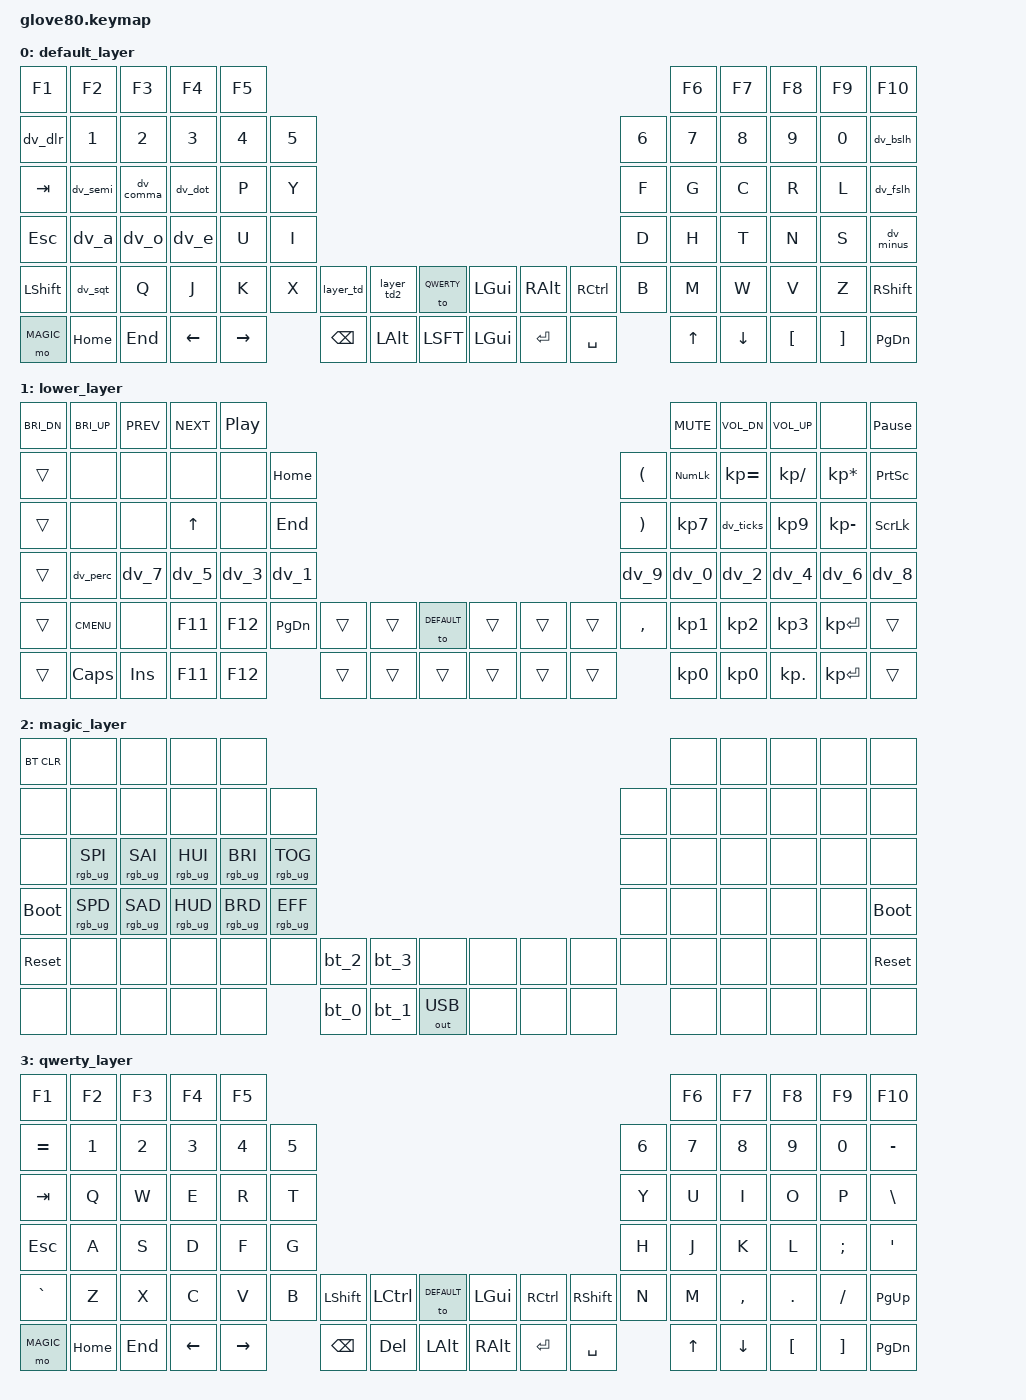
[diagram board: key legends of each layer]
/*
 * Copyright (c) 2020 The ZMK Contributors
 *
 * SPDX-License-Identifier: MIT
 */

#include <behaviors.dtsi>
#include <dt-bindings/zmk/keys.h>
#include <dt-bindings/zmk/bt.h>
#include <dt-bindings/zmk/ext_power.h>
#include <dt-bindings/zmk/outputs.h>
#include <dt-bindings/zmk/rgb.h>

// layers
#define DEFAULT 0
#define LOWER 1
#define MAGIC 2
#define QWERTY 3
#define SYMBOLS 4
/* Convert NAME parameters into a ZMK label string */
/* Create a ZMK behavior without having to specify the name three times */
#define ALT_MORPH(NAME, STANDARD, MORPHED) \
    NAME: NAME { \
        compatible = "zmk,behavior-mod-morph"; \
        #binding-cells = <0>; \
        bindings = <STANDARD>, <MORPHED>; \
        mods = <(MOD_LALT|MOD_RALT)>; \
    };

#define SHIFT_MORPH(NAME, STANDARD, MORPHED) \
    NAME: NAME { \
        compatible = "zmk,behavior-mod-morph"; \
        #binding-cells = <0>; \
        bindings = <STANDARD>, <MORPHED>; \
        mods = <(MOD_LSFT|MOD_RSFT)>; \
    };

/ {
    behaviors {
        // For the "layer" key, it'd nice to be able to use it as either a shift or a toggle.
        // Configure it as a tap dance, so the first tap (or hold) is a &mo and the second tap is a &to
        layer_td: tap_dance_0 {
            compatible = "zmk,behavior-tap-dance";
            #binding-cells = <0>;
            tapping-term-ms = <200>;
            bindings = <&mo LOWER>, <&to LOWER>;
        };
        layer_td2: tap_dance_1 {
            compatible = "zmk,behavior-tap-dance";
            #binding-cells = <0>;
            tapping-term-ms = <200>;
            bindings = <&mo LOWER>, <&to LOWER>;
        };

    };
  };

 /{
   macros {
   undead_tilde: undead_tilde {
            compatible = "zmk,behavior-macro";
            #binding-cells = <0>;
            bindings
                = <&macro_press &kp RALT>
                , <&macro_tap &kp RBKT &kp RBKT>
                , <&macro_release &kp RALT>
                ;
          
    };
   undead_caret: undead_caret {
            compatible = "zmk,behavior-macro";
            #binding-cells = <0>;
            bindings
                = <&macro_press &kp LSFT>
                , <&macro_tap &kp RBKT &kp RBKT>
                , <&macro_release &kp LSFT>
                ;
          
    };
  };
};


/ {
    behaviors {
        SHIFT_MORPH(dv_perc, &kp LS(N6), &kp LS(N5))
        SHIFT_MORPH(dv_dlr, &kp RA(N4), &undead_tilde)
        SHIFT_MORPH(dv_7, &kp RA(N8), &kp N7)
        SHIFT_MORPH(dv_5, &kp RA(N7), &kp N5)
        SHIFT_MORPH(dv_3, &kp RA(N0), &kp N3)
        SHIFT_MORPH(dv_1, &kp LS(N8), &kp N1)

        SHIFT_MORPH(dv_9, &kp LS(N0), &kp N9)
        SHIFT_MORPH(dv_0, &kp LS(BSLH), &kp N0)
        SHIFT_MORPH(dv_2, &kp LS(N9), &kp N2)
        SHIFT_MORPH(dv_4, &kp MINUS, &kp N4)
        SHIFT_MORPH(dv_6, &kp RA(N9), &kp N6)
        SHIFT_MORPH(dv_8, &kp LS(N1), &kp N8)
        SHIFT_MORPH(dv_semi, &kp LS(COMMA), &kp LS(DOT))
        SHIFT_MORPH(dv_sqt, &kp BSLH, &kp LS(N2))
        SHIFT_MORPH(dv_dot, &kp DOT, &kp LS(NON_US_BSLH))
        SHIFT_MORPH(dv_comma, &kp COMMA, &kp NON_US_BSLH)
        SHIFT_MORPH(dv_bslh, &kp GRAVE, &kp EQUAL) // \ |
        SHIFT_MORPH(dv_fslh, &kp LS(N7), &kp LS(MINUS)) // / ?
        SHIFT_MORPH(dv_minus, &kp FSLH, &kp LS(FSLH)) // / ?
        SHIFT_MORPH(dv_ticks, &kp LS(EQUAL), &kp LS(N3)) // / ?

        ALT_MORPH(dv_a, &kp A, &kp LBKT)
        ALT_MORPH(dv_o, &kp O, &kp SQT)
        ALT_MORPH(dv_e, &kp E, &kp SEMI)
    };
};

 /{
   macros {
        bt_0: bt_profile_macro_0 {
            compatible = "zmk,behavior-macro";
            #binding-cells = <0>;
            bindings
                = <&out OUT_BLE>,
                  <&bt BT_SEL 0>;
        };

        bt_1: bt_profile_macro_1 {
            compatible = "zmk,behavior-macro";
            #binding-cells = <0>;
            bindings
                = <&out OUT_BLE>,
                  <&bt BT_SEL 1>;
        };

        bt_2: bt_profile_macro_2 {
            compatible = "zmk,behavior-macro";
            #binding-cells = <0>;
            bindings
                = <&out OUT_BLE>,
                  <&bt BT_SEL 2>;
        };

        bt_3: bt_profile_macro_3 {
            compatible = "zmk,behavior-macro";
            #binding-cells = <0>;
            bindings
                = <&out OUT_BLE>,
                  <&bt BT_SEL 3>;
        };
    };

    keymap {
        compatible = "zmk,keymap";

        default_layer {
            // ---------------------------------------------------------------------------------------------------------------------------------
            // |  F1   |  F2 |  F3 |  F4  |  F5  |                                                               |  F6   |  F7   |  F8  |   F9  |  F10 |
            // |  =    |  1  |  2  |  3   |  4   |  5   |                                                 |  6   |   7   |   8   |  9   |   0   |   -  |
            // |  TAB  |  Q  |  W  |  E   |  R   |  T   |                                                 |  Y   |   U   |   I   |  O   |   P   |   \  |
            // |  ESC  |  A  |  S  |  D   |  F   |  G   |                                                 |  H   |   J   |   K   |  L   |   ;   |   '  |
            // |   `   |  Z  |  X  |  C   |  V   |  B   | LSHFT | LCTRL | LOWER | | LGUI  | RCTRL | RSHFT |  N   |   M   |   ,   |  .   |   /   | PGUP |
            // | MAGIC | HOME| END | LEFT | RIGHT|      | BSPC  | DEL   | LALT  | | RALT  | RET   | SPACE |      |  UP   | DOWN  |  [   |   ]   | PGDN |

            bindings = <
            &kp F1         &kp F2     &kp F3      &kp F4      &kp F5                                                                                            &kp F6  &kp F7      &kp F8      &kp F9      &kp F10
            &dv_dlr        &kp N1     &kp N2      &kp N3      &kp N4      &kp N5                                                                        &kp N6  &kp N7  &kp N8      &kp N9      &kp N0      &dv_bslh
            &kp TAB        &dv_semi   &dv_comma   &dv_dot     &kp P       &kp Y                                                                         &kp F   &kp G   &kp C       &kp R       &kp L       &dv_fslh
            &kp ESC        &dv_a      &dv_o       &dv_e       &kp U       &kp I                                                                         &kp D   &kp H   &kp T       &kp N       &kp S       &dv_minus
            &kp LSHFT      &dv_sqt    &kp Q       &kp J       &kp K       &kp X   &layer_td   &layer_td2  &to QWERTY    &kp LGUI  &kp RALT  &kp RCTRL   &kp B   &kp M   &kp W       &kp V       &kp Z       &kp RSHFT
            &mo MAGIC      &kp HOME   &kp END     &kp LEFT    &kp RIGHT           &kp BSPC    &kp LALT    &kp LSFT      &kp LGUI  &kp RET   &kp SPACE           &kp UP  &kp DOWN    &kp LBKT    &kp RBKT    &kp PG_DN
            >;
        };

        lower_layer {
            bindings = <
            &kp C_BRI_DN      &kp C_BRI_UP        &kp C_PREV      &kp C_NEXT      &kp C_PP                                                                                                           &kp C_MUTE   &kp C_VOL_DN &kp C_VOL_UP  &none           &kp PAUSE_BREAK
            &trans            &none               &none           &none           &none           &kp HOME                                                                              &kp LPAR     &kp KP_NUM   &kp KP_EQUAL &kp KP_DIVIDE &kp KP_MULTIPLY &kp PSCRN
            &trans            &none               &none           &kp UP          &none           &kp END                                                                               &kp RPAR     &kp KP_N7    &dv_ticks    &kp KP_N9     &kp KP_MINUS    &kp SLCK
            &trans            &dv_perc            &dv_7           &dv_5           &dv_3           &dv_1                                                                                 &dv_9        &dv_0        &dv_2        &dv_4         &dv_6           &dv_8
            &trans            &kp K_CMENU         &none           &kp F11         &kp F12         &kp PG_DN       &trans      &trans      &to DEFAULT &trans      &trans      &trans    &kp COMMA    &kp KP_N1    &kp KP_N2    &kp KP_N3     &kp KP_ENTER    &trans
            &trans            &kp CAPS            &kp INS         &kp F11         &kp F12                         &trans      &trans      &trans      &trans      &trans      &trans                 &kp KP_N0    &kp KP_N0    &kp KP_DOT    &kp KP_ENTER    &trans
            >;
        };

        magic_layer {
            bindings = <
            &bt BT_CLR        &none               &none           &none           &none                                                                                                           &none      &none      &none      &none      &none
            &none             &none               &none           &none           &none           &none                                                                                &none      &none      &none      &none      &none      &none
            &none             &rgb_ug RGB_SPI     &rgb_ug RGB_SAI &rgb_ug RGB_HUI &rgb_ug RGB_BRI &rgb_ug RGB_TOG                                                                      &none      &none      &none      &none      &none      &none
            &bootloader       &rgb_ug RGB_SPD     &rgb_ug RGB_SAD &rgb_ug RGB_HUD &rgb_ug RGB_BRD &rgb_ug RGB_EFF                                                                      &none      &none      &none      &none      &none      &bootloader
            &sys_reset        &none               &none           &none           &none           &none           &bt_2     &bt_3     &none            &none     &none     &none       &none      &none      &none      &none      &none      &sys_reset
            &none             &none               &none           &none           &none                           &bt_0     &bt_1     &out OUT_USB     &none     &none     &none                  &none      &none      &none      &none      &none
            >;
        };
        qwerty_layer {
            bindings = <                                                                                              
            &kp F1         &kp F2   &kp F3      &kp F4      &kp F5                                                                                            &kp F6  &kp F7      &kp F8      &kp F9      &kp F10
            &kp EQUAL      &kp N1   &kp N2      &kp N3      &kp N4      &kp N5                                                                        &kp N6  &kp N7  &kp N8      &kp N9      &kp N0      &kp MINUS
            &kp TAB        &kp Q    &kp W       &kp E       &kp R       &kp T                                                                         &kp Y   &kp U   &kp I       &kp O       &kp P       &kp BSLH
            &kp ESC        &kp A    &kp S       &kp D       &kp F       &kp G                                                                         &kp H   &kp J   &kp K       &kp L       &kp SEMI    &kp SQT
            &kp GRAVE      &kp Z    &kp X       &kp C       &kp V       &kp B   &kp LSHFT   &kp LCTRL   &to DEFAULT   &kp LGUI  &kp RCTRL &kp RSHFT   &kp N   &kp M   &kp COMMA   &kp DOT     &kp FSLH    &kp PG_UP
            &mo MAGIC      &kp HOME &kp END     &kp LEFT    &kp RIGHT           &kp BSPC    &kp DEL     &kp LALT      &kp RALT  &kp RET   &kp SPACE           &kp UP  &kp DOWN    &kp LBKT    &kp RBKT    &kp PG_DN
            >;
        };
    };
};
